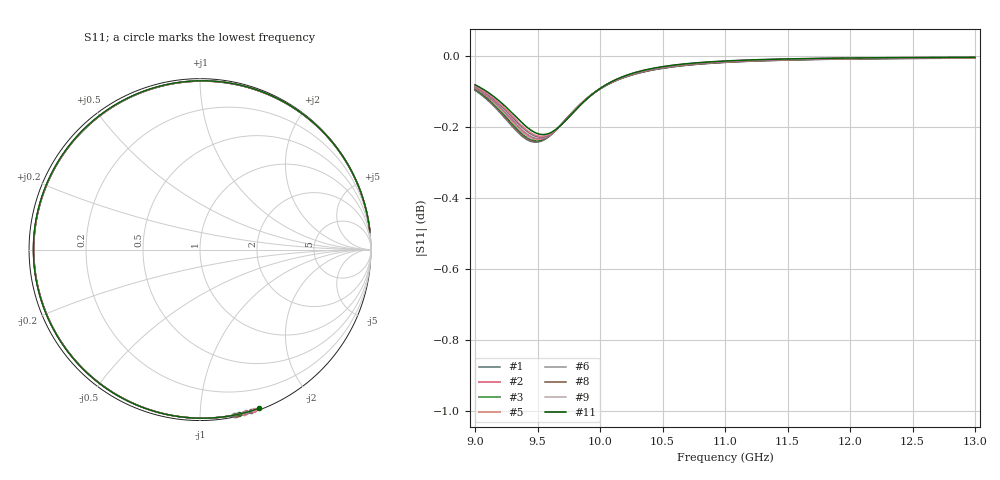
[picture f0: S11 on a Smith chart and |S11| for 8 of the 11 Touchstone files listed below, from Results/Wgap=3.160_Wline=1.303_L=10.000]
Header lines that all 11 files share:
! TOUCHSTONE file generated by CST DESIGN STUDIO
! Project name: C:\Work\MatlabApps\UnitCellOptimizationMatlab\CST\unitcell.cst
! Tree item: Tasks\Sweep1\SPara1\S-Parameters
! Header version: 2024
! Port assignment regex: !\s*Touchstone port\s*([0-9]+)\s*=\s*(CST MWS port|CST DES external port|CST DES block port)\s*(.+)\s* \(\"(.*)\"\)(\s*mode\s*([0-9]+))?.*
! Touchstone port assignment:
! Touchstone port 1 = CST DES external port 1 ("")
# GHz S MA R 50
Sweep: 9 GHz to 13 GHz
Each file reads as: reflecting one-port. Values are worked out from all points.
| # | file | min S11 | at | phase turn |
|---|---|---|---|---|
| 1 | DS_for_MWS-run-0001.s1p | -0.2 dB | 9.485 GHz | -276 deg |
| 2 | DS_for_MWS-run-0002.s1p | -0.2 dB | 9.49 GHz | -276 deg |
| 3 | DS_for_MWS-run-0003.s1p | -0.2 dB | 9.496 GHz | -277 deg |
| 4 | DS_for_MWS-run-0004.s1p | -0.2 dB | 9.501 GHz | -278 deg |
| 5 | DS_for_MWS-run-0005.s1p | -0.2 dB | 9.507 GHz | -279 deg |
| 6 | DS_for_MWS-run-0006.s1p | -0.2 dB | 9.513 GHz | -280 deg |
| 7 | DS_for_MWS-run-0007.s1p | -0.2 dB | 9.519 GHz | -281 deg |
| 8 | DS_for_MWS-run-0008.s1p | -0.2 dB | 9.525 GHz | -281 deg |
| 9 | DS_for_MWS-run-0009.s1p | -0.2 dB | 9.531 GHz | -282 deg |
| 10 | DS_for_MWS-run-0010.s1p | -0.2 dB | 9.537 GHz | -283 deg |
| 11 | DS_for_MWS-run-0011.s1p | -0.2 dB | 9.544 GHz | -284 deg |
